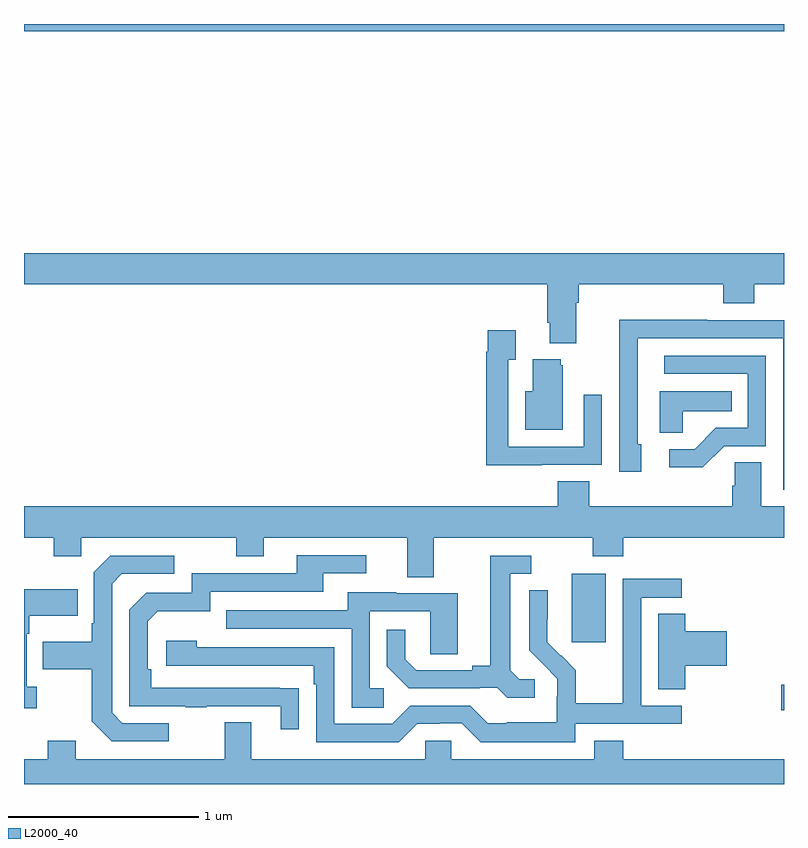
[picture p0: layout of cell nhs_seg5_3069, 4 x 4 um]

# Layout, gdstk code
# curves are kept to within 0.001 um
import gdstk
lib = gdstk.Library(unit=1e-6, precision=1e-09)
def R(c, l, rs):  # rectangles x0, y0, x1, y1
    for r in rs: c.add(gdstk.rectangle(r[:2], r[2:], *l))
def P(c, l, *ps):  # polygons
    for p in ps: c.add(gdstk.Polygon(p, *l))
L2000_40 = (2000, 40)

nhs_seg5_3069 = lib.new_cell('nhs_seg5_3069')
R(nhs_seg5_3069, L2000_40, [(292.986,853.187,293,853.322), (291.884,853.545,292.063,853.906), (289,856.76,293,856.799)])
P(nhs_seg5_3069, L2000_40, [(291.907,855.332),(291.92,855.332),(291.92,855.428),(292.679,855.428),(292.679,855.329),(292.844,855.329),(292.844,855.428),(293,855.428),(293,855.592),(289,855.592),(289,855.428),(291.755,855.428),(291.755,855.226),(291.767,855.226),(291.767,855.119),(291.907,855.119)],
  [(293,855.24),(292.595,855.24),(292.595,855.242),(292.132,855.242),(292.132,854.935),(292.134,854.935),(292.134,854.442),(292.249,854.442),(292.249,854.586),(292.23,854.586),(292.23,855.144),(292.995,855.144),(292.995,854.349),(293,854.349)],
  [(291.725,854.478),(292.041,854.478),(292.041,854.848),(291.945,854.848),(291.945,854.574),(291.549,854.574),(291.549,855.031),(291.589,855.031),(291.589,855.187),(291.441,855.187),(291.441,855.074),(291.433,855.074),(291.433,854.477),(291.725,854.477)],
  [(292.686,854.577),(292.905,854.577),(292.905,855.054),(292.371,855.054),(292.371,854.958),(292.809,854.958),(292.809,854.673),(292.64,854.673),(292.529,854.562),(292.395,854.562),(292.395,854.465),(292.573,854.465)],
  [(291.835,855.003),(291.824,855.003),(291.824,855.034),(291.677,855.034),(291.677,854.866),(291.638,854.866),(291.638,854.663),(291.835,854.663)],
  [(292.467,854.762),(292.724,854.762),(292.724,854.866),(292.346,854.866),(292.346,854.647),(292.467,854.647)],
  [(291.157,854.096),(291.994,854.096),(291.994,853.997),(292.154,853.997),(292.154,854.096),(293,854.096),(293,854.26),(292.879,854.26),(292.879,854.492),(292.74,854.492),(292.74,854.369),(292.727,854.369),(292.727,854.26),(291.974,854.26),(291.974,854.393),(291.809,854.393),(291.809,854.26),(289,854.26),(289,854.096),(289.156,854.096),(289.156,853.997),(289.302,853.997),(289.302,854.096),(290.116,854.096),(290.116,853.997),(290.263,853.997),(290.263,854.096),(291.017,854.096),(291.017,853.888),(291.157,853.888)],
  [(290.447,853.304),(289.67,853.305),(289.67,853.402),(289.65,853.402),(289.65,853.656),(289.703,853.709),(289.98,853.709),(289.98,853.812),(290.575,853.812),(290.575,853.908),(290.8,853.908),(290.8,854.004),(290.435,854.004),(290.435,853.908),(289.884,853.908),(289.884,853.806),(289.644,853.806),(289.554,853.716),(289.554,853.209),(289.849,853.209),(289.849,853.204),(289.961,853.204),(289.961,853.209),(290.351,853.209),(290.351,853.086),(290.447,853.086)],
  [(289.762,853.119),(289.518,853.119),(289.464,853.173),(289.464,853.854),(289.515,853.905),(289.792,853.905),(289.792,854.001),(289.455,854.001),(289.368,853.914),(289.368,853.645),(289.356,853.645),(289.356,853.549),(289.099,853.549),(289.099,853.402),(289.356,853.402),(289.356,853.129),(289.461,853.023),(289.762,853.023)],
  [(291.688,853.35),(291.606,853.35),(291.559,853.397),(291.559,853.905),(291.67,853.905),(291.67,854.001),(291.455,854.001),(291.455,853.421),(291.359,853.421),(291.359,853.398),(291.064,853.398),(291.007,853.455),(291.007,853.612),(290.91,853.612),(290.91,853.418),(291.026,853.302),(291.398,853.302),(291.398,853.305),(291.492,853.305),(291.544,853.253),(291.688,853.253)],
  [(291.9,853.116),(292.462,853.116),(292.462,853.212),(292.248,853.212),(292.248,853.779),(292.462,853.779),(292.462,853.878),(292.152,853.878),(292.152,853.448),(292.15,853.448),(292.15,853.225),(291.905,853.225),(291.905,853.399),(291.828,853.476),(291.825,853.473),(291.755,853.544),(291.756,853.82),(291.66,853.82),(291.66,853.502),(291.806,853.354),(291.806,853.257),(291.804,853.257),(291.804,853.123),(291.541,853.123),(291.541,853.119),(291.441,853.119),(291.348,853.212),(291.033,853.212),(290.937,853.116),(290.634,853.116),(290.634,853.518),(289.91,853.518),(289.91,853.552),(289.749,853.552),(289.749,853.422),(290.525,853.422),(290.525,853.325),(290.538,853.325),(290.538,853.02),(290.973,853.02),(291.069,853.116),(291.188,853.116),(291.188,853.119),(291.303,853.119),(291.403,853.019),(291.9,853.019)],
  [(289.066,853.31),(289.014,853.31),(289.014,853.589),(289.027,853.589),(289.027,853.685),(289.283,853.685),(289.283,853.825),(289,853.825),(289,853.197),(289.066,853.197)],
  [(290.893,853.302),(290.82,853.302),(290.82,853.707),(291.138,853.707),(291.138,853.483),(291.283,853.483),(291.283,853.803),(290.959,853.803),(290.959,853.807),(290.705,853.807),(290.705,853.713),(290.065,853.713),(290.065,853.617),(290.724,853.617),(290.724,853.201),(290.893,853.201)],
  [(292.481,853.421),(292.699,853.421),(292.699,853.604),(292.481,853.604),(292.481,853.694),(292.337,853.694),(292.337,853.297),(292.481,853.297)],
  [(293,852.928),(292.154,852.928),(292.154,853.027),(292.001,853.027),(292.001,852.928),(291.249,852.928),(291.249,853.026),(291.111,853.026),(291.111,852.928),(290.197,852.928),(290.197,853.123),(290.057,853.123),(290.057,852.928),(289.273,852.928),(289.273,853.027),(289.126,853.027),(289.126,852.928),(289,852.928),(289,852.799),(293,852.799)])

lib.write_gds('nhs_seg5_3069.gds')
